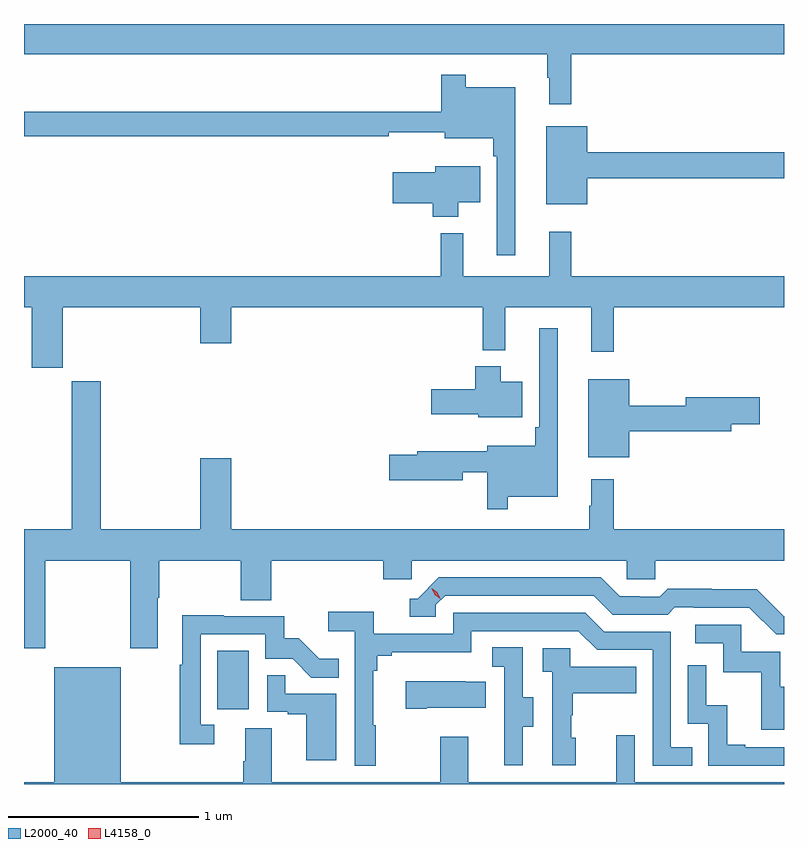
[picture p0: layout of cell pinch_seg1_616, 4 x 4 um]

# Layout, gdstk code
import gdstk
lib = gdstk.Library(unit=1e-6, precision=1e-09)
def R(c, l, rs):  # rectangles x0, y0, x1, y1
    for r in rs: c.add(gdstk.rectangle(r[:2], r[2:], *l))
def P(c, l, *ps):  # polygons
    for p in ps: c.add(gdstk.Polygon(p, *l))
L2000_40 = (2000, 40)
L4158_0 = (4158, 0)

pinch_seg1_616 = lib.new_cell('pinch_seg1_616')
R(pinch_seg1_616, L2000_40, [(1100.162,513.654,1100.326,513.961)])
P(pinch_seg1_616, L2000_40, [(1102.025,517.1),(1103.144,517.1),(1103.144,517.26),(1099.144,517.26),(1099.144,517.1),(1101.897,517.1),(1101.897,516.977),(1101.908,516.977),(1101.908,516.837),(1102.025,516.837)],
  [(1101.73,516.928),(1101.469,516.928),(1101.469,516.994),(1101.34,516.994),(1101.34,516.799),(1099.144,516.799),(1099.144,516.67),(1101.063,516.67),(1101.063,516.689),(1101.359,516.689),(1101.359,516.659),(1101.613,516.659),(1101.613,516.563),(1101.633,516.563),(1101.633,516.042),(1101.73,516.042)],
  [(1102.108,516.448),(1103.144,516.448),(1103.144,516.584),(1102.108,516.584),(1102.108,516.721),(1101.893,516.721),(1101.893,516.311),(1102.108,516.311)],
  [(1101.43,516.323),(1101.544,516.323),(1101.544,516.511),(1101.308,516.511),(1101.308,516.481),(1101.084,516.481),(1101.084,516.316),(1101.296,516.316),(1101.296,516.245),(1101.43,516.245)],
  [(1102.025,516.166),(1101.908,516.166),(1101.908,515.932),(1101.455,515.932),(1101.455,516.16),(1101.337,516.16),(1101.337,515.932),(1099.144,515.932),(1099.144,515.768),(1099.184,515.768),(1099.184,515.451),(1099.348,515.451),(1099.348,515.768),(1100.072,515.768),(1100.072,515.58),(1100.236,515.58),(1100.236,515.768),(1101.559,515.768),(1101.559,515.543),(1101.677,515.543),(1101.677,515.768),(1102.13,515.768),(1102.13,515.535),(1102.247,515.535),(1102.247,515.768),(1103.144,515.768),(1103.144,515.932),(1102.025,515.932)],
  [(1101.691,514.772),(1101.952,514.772),(1101.952,515.659),(1101.855,515.659),(1101.855,515.137),(1101.835,515.137),(1101.835,515.041),(1101.581,515.041),(1101.581,515.012),(1101.215,515.012),(1101.215,514.994),(1101.066,514.994),(1101.066,514.859),(1101.454,514.859),(1101.454,514.902),(1101.582,514.902),(1101.582,514.707),(1101.691,514.707)],
  [(1101.766,515.377),(1101.652,515.377),(1101.652,515.458),(1101.518,515.458),(1101.518,515.337),(1101.288,515.337),(1101.288,515.207),(1101.534,515.207),(1101.534,515.189),(1101.766,515.189)],
  [(1102.33,515.116),(1102.867,515.116),(1102.867,515.153),(1103.017,515.153),(1103.017,515.295),(1102.628,515.295),(1102.628,515.252),(1102.33,515.252),(1102.33,515.389),(1102.115,515.389),(1102.115,514.979),(1102.33,514.979)],
  [(1099.257,514.436),(1099.702,514.436),(1099.702,513.975),(1099.849,513.975),(1099.849,514.24),(1099.857,514.24),(1099.857,514.436),(1100.284,514.436),(1100.284,514.228),(1100.444,514.228),(1100.444,514.436),(1101.035,514.436),(1101.035,514.338),(1101.186,514.338),(1101.186,514.436),(1102.317,514.436),(1102.317,514.338),(1102.467,514.338),(1102.467,514.436),(1103.144,514.436),(1103.144,514.6),(1102.247,514.6),(1102.247,514.864),(1102.13,514.864),(1102.13,514.724),(1102.119,514.724),(1102.119,514.6),(1100.236,514.6),(1100.236,514.975),(1100.072,514.975),(1100.072,514.6),(1099.547,514.6),(1099.547,515.379),(1099.394,515.379),(1099.394,514.6),(1099.144,514.6),(1099.144,513.975),(1099.257,513.975)],
  [(1103.144,514.143),(1103.142,514.143),(1103,514.285),(1102.764,514.285),(1102.764,514.288),(1102.531,514.288),(1102.489,514.245),(1102.386,514.245),(1102.386,514.248),(1102.279,514.248),(1102.18,514.347),(1101.327,514.347),(1101.216,514.236),(1101.173,514.236),(1101.173,514.14),(1101.312,514.14),(1101.312,514.203),(1101.36,514.251),(1102.143,514.251),(1102.242,514.152),(1102.531,514.152),(1102.57,514.191),(1102.669,514.191),(1102.669,514.188),(1102.962,514.188),(1103.103,514.047),(1103.144,514.047)],
  [(1100.995,513.569),(1100.983,513.569),(1100.983,513.857),(1101.002,513.857),(1101.002,513.934),(1101.079,513.934),(1101.079,513.953),(1101.498,513.953),(1101.498,514.065),(1102.062,514.065),(1102.161,513.966),(1102.452,513.966),(1102.452,513.357),(1102.661,513.357),(1102.661,513.453),(1102.548,513.453),(1102.548,514.062),(1102.198,514.062),(1102.099,514.161),(1101.402,514.161),(1101.402,514.05),(1100.984,514.05),(1100.984,514.166),(1100.745,514.166),(1100.745,514.064),(1100.886,514.064),(1100.886,513.357),(1100.995,513.357)],
  [(1100.146,513.573),(1100.073,513.573),(1100.073,514.047),(1100.415,514.047),(1100.415,513.918),(1100.559,513.918),(1100.657,513.82),(1100.801,513.82),(1100.801,513.919),(1100.697,513.919),(1100.59,514.026),(1100.514,514.026),(1100.514,514.143),(1100.195,514.143),(1100.195,514.148),(1099.977,514.148),(1099.977,513.887),(1099.965,513.887),(1099.965,513.468),(1100.146,513.468)],
  [(1103.144,513.771),(1103.125,513.771),(1103.125,513.957),(1102.92,513.957),(1102.92,514.098),(1102.677,514.098),(1102.677,514.002),(1102.824,514.002),(1102.824,513.849),(1103.023,513.849),(1103.023,513.546),(1103.144,513.546)],
  [(1101.769,513.562),(1101.823,513.562),(1101.823,513.717),(1101.768,513.717),(1101.768,513.98),(1101.609,513.98),(1101.609,513.877),(1101.672,513.877),(1101.672,513.573),(1101.671,513.573),(1101.671,513.36),(1101.769,513.36)],
  [(1102.048,513.504),(1102.023,513.504),(1102.023,513.623),(1102.033,513.623),(1102.033,513.737),(1102.367,513.737),(1102.367,513.877),(1102.02,513.877),(1102.02,513.975),(1101.873,513.975),(1101.873,513.851),(1101.924,513.851),(1101.924,513.36),(1102.048,513.36)],
  [(1103.144,513.453),(1102.939,513.453),(1102.939,513.466),(1102.844,513.466),(1102.844,513.674),(1102.734,513.674),(1102.734,513.886),(1102.638,513.886),(1102.638,513.576),(1102.746,513.576),(1102.746,513.357),(1103.144,513.357)],
  [(1103.144,513.268),(1102.359,513.268),(1102.359,513.517),(1102.262,513.517),(1102.262,513.268),(1101.481,513.268),(1101.481,513.508),(1101.334,513.508),(1101.334,513.268),(1100.449,513.268),(1100.449,513.554),(1100.309,513.554),(1100.309,513.38),(1100.297,513.38),(1100.297,513.268),(1099.654,513.268),(1099.654,513.874),(1099.304,513.874),(1099.304,513.268),(1099.144,513.268),(1099.144,513.26),(1103.144,513.26)],
  [(1100.788,513.735),(1100.519,513.735),(1100.519,513.833),(1100.424,513.833),(1100.424,513.639),(1100.531,513.639),(1100.531,513.627),(1100.63,513.627),(1100.63,513.384),(1100.788,513.384)],
  [(1101.265,513.662),(1101.575,513.662),(1101.575,513.799),(1101.467,513.799),(1101.467,513.802),(1101.153,513.802),(1101.153,513.655),(1101.265,513.655)])
P(pinch_seg1_616, L4158_0, [(1101.336,514.236),(1101.305,514.257),(1101.289,514.29),(1101.289,514.29),(1101.29,514.29),(1101.32,514.27),(1101.336,514.237),(1101.336,514.236)])

lib.write_gds('pinch_seg1_616.gds')
